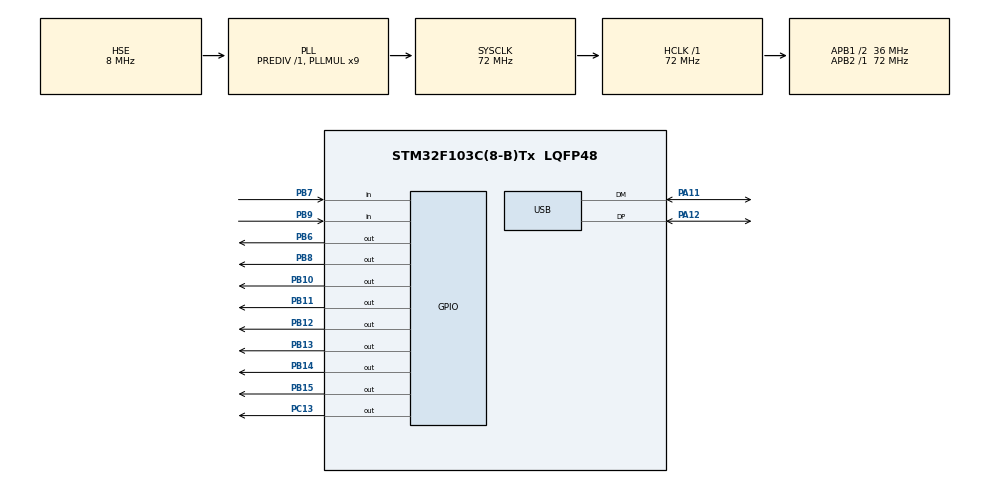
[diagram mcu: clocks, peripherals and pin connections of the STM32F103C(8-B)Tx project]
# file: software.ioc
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Mcu.Family=STM32F1
Mcu.Name=STM32F103C(8-B)Tx
Mcu.Package=LQFP48
NVIC.PriorityGroup=NVIC_PRIORITYGROUP_4
NVIC.TIM4_IRQn=true\:15\:0\:false\:false\:true\:false\:false\:true\:true
NVIC.TimeBase=TIM4_IRQn
NVIC.TimeBaseIP=TIM4
NVIC.USB_LP_CAN1_RX0_IRQn=true\:5\:0\:false\:false\:true\:true\:true\:true\:true
PA11.Mode=Device
PA11.Signal=USB_DM
PA12.Mode=Device
PA12.Signal=USB_DP
PA13.Mode=Serial_Wire
PA13.Signal=SYS_JTMS-SWDIO
PA14.Mode=Serial_Wire
PA14.Signal=SYS_JTCK-SWCLK
PB10.Signal=GPIO_Output
PB11.Signal=GPIO_Output
PB12.Signal=GPIO_Output
PB13.PinState=GPIO_PIN_RESET
PB13.Signal=GPIO_Output
PB14.Signal=GPIO_Output
PB15.Signal=GPIO_Output
PB6.PinState=GPIO_PIN_SET
PB6.Signal=GPIO_Output
PB7.Signal=GPIO_Input
PB8.GPIO_Speed=GPIO_SPEED_FREQ_LOW
PB8.PinState=GPIO_PIN_SET
PB8.Signal=GPIO_Output
PB9.Signal=GPIO_Input
PC13-TAMPER-RTC.PinState=GPIO_PIN_SET
PC13-TAMPER-RTC.Signal=GPIO_Output
PC14-OSC32_IN.Mode=LSE-External-Oscillator
PC14-OSC32_IN.Signal=RCC_OSC32_IN
PC15-OSC32_OUT.Mode=LSE-External-Oscillator
PC15-OSC32_OUT.Signal=RCC_OSC32_OUT
PD0-OSC_IN.Mode=HSE-External-Oscillator
PD0-OSC_IN.Signal=RCC_OSC_IN
PD1-OSC_OUT.Mode=HSE-External-Oscillator
PD1-OSC_OUT.Signal=RCC_OSC_OUT
ProjectManager.HeapSize=0x0
ProjectManager.StackSize=0x400
ProjectManager.TargetToolchain=CMake
RCC.AHBFreq_Value=72000000
RCC.APB1CLKDivider=RCC_HCLK_DIV2
RCC.APB1Freq_Value=36000000
RCC.APB1TimFreq_Value=72000000
RCC.APB2Freq_Value=72000000
RCC.APB2TimFreq_Value=72000000
RCC.HCLKFreq_Value=72000000
RCC.PLLMUL=RCC_PLL_MUL9
RCC.PLLSourceVirtual=RCC_PLLSOURCE_HSE
RCC.SYSCLKFreq_VALUE=72000000
RCC.SYSCLKSource=RCC_SYSCLKSOURCE_PLLCLK
RCC.USBFreq_Value=48000000
RCC.USBPrescaler=RCC_USBCLKSOURCE_PLL_DIV1_5
TIM3.Prescaler=71
USB_DEVICE.APP_RX_DATA_SIZE=128
USB_DEVICE.APP_TX_DATA_SIZE=128
USB_DEVICE.CLASS_NAME_FS=CDC
USB_DEVICE.USBD_MAX_STR_DESC_SIZ=64
USB_DEVICE.VirtualMode=Cdc
USB_DEVICE.VirtualModeFS=Cdc_FS
VP_SYS_VS_tim4.Mode=TIM4
VP_TIM3_VS_ClockSourceINT.Mode=Internal
VP_USB_DEVICE_VS_USB_DEVICE_CDC_FS.Mode=CDC_FS
board=custom

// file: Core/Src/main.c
/* USER CODE BEGIN Header */
/**
  ******************************************************************************
  * @file           : main.c
  * @brief          : Main program body
  ******************************************************************************
  * @attention
  *
  * Copyright (c) 2026 STMicroelectronics.
  * All rights reserved.
  *
  * This software is licensed under terms that can be found in the LICENSE file
  * in the root directory of this software component.
  * If no LICENSE file comes with this software, it is provided AS-IS.
  *
  ******************************************************************************
  */
/* USER CODE END Header */
#include "main.h"

/* USER CODE BEGIN Includes */
#include <string.h>

#include "calc_app.h"        /* 界面、按键分派、渲染分派都在这一层 */
#include "calc_view.h"
#include "lcd1602.h"
#include "lcd_cgram.h"
#include "touch_filter.h"
#include "touch_model.h"
#include "ttp229.h"
#include "usb_device.h"
/*
 * 裸机主循环，不使用 FreeRTOS。本文件只做两件事：
 *   1. 芯片/外设初始化（CubeMX 生成的时钟、GPIO、TIM3、USB）；
 *   2. 主循环的节拍：按键 10 ms 采样、串口 20 ms 取一次、屏幕按需刷新（最快 50 ms）、
 *      心跳灯 500 ms 翻转，互不阻塞。
 * "哪个键归哪一页、哪一页画什么"全在 calc_app 里，这里一行界面逻辑都没有。
 */
/* USER CODE END Includes */

/* USER CODE BEGIN PD */
#define KEY_POLL_PERIOD_MS    10U
#define SERIAL_POLL_PERIOD_MS 20U
#define LCD_REFRESH_PERIOD_MS 50U
#define LED_BLINK_PERIOD_MS   500U

#define LCD_COLUMNS           16U

/* USER CODE END PD */

TIM_HandleTypeDef htim3;

/* USER CODE BEGIN PV */
static touch_model_t touch_model; /* 电极串扰的组合识别模型 */

/* 屏幕内容（由 app_render 生成） */
static char top_line[LCD_COLUMNS];
static char bottom_line[LCD_COLUMNS];
static uint8_t top_cursor;        /* 光标所在列，CALC_VIEW_NO_CURSOR 表示不显示 */
static uint8_t cursor_row;        /* 光标所在行：0 = 第 1 行，1 = 第 2 行 */

/* 影子缓冲：屏幕内容或光标变了才写 LCD */
static char top_shadow[LCD_COLUMNS];
static char bottom_shadow[LCD_COLUMNS];
static uint8_t cursor_shadow = 0U;
static uint8_t cursor_row_shadow = 0U;
static uint8_t shadow_valid;

static touch_filter_t key_filter;
/* USER CODE END PV */

void SystemClock_Config(void);
static void MX_GPIO_Init(void);
static void MX_TIM3_Init(void);

/* USER CODE BEGIN PFP */
static void key_poll(void);
static void render(void);
static void lcd_flush(void);
/* USER CODE END PFP */

/* USER CODE BEGIN 0 */

/**
  * @brief  按键采样与去抖，每 10 ms 调用一次。
  * @note   原始位图来自自己写的 ttp229.c，去抖来自自己写的 touch_filter.c。
  */
static void key_poll(void)
{
  static uint8_t key_sent;
  uint32_t resolved;
  uint8_t index;

  (void)touch_filter_update(&key_filter, ttp229_read_physical());

  /* 组合识别：电极之间会串扰，一个按键往往点亮好几个电极，
     这里按作者的默认标定模型还原成"用户真正想按的那个键"。 */
  resolved = touch_model_classify(&touch_model, key_filter.stable_bitmap);

  if (resolved == 0U)
  {
    key_sent = 0U;
    return;
  }

  /* 同一次按住只处理一次，松开后才允许下一次。 */
  if (key_sent != 0U)
  {
    return;
  }
  key_sent = 1U;

  /* 把单个按键位换算成键号。 */
  index = 0U;
  while ((resolved & (1UL << index)) == 0U)
  {
    index++;
  }

  /* 采样只负责"哪个键被按了"；SHIFT 上档与页面分派都在应用层。 */
  app_handle_key(index);
}

/**
  * @brief  让应用层生成两行内容与光标位置。
  * @note   哪个页面画哪两行、光标放哪一列，都由 calc_app 决定。
  */
static void render(void)
{
  app_render(top_line, bottom_line, &top_cursor, &cursor_row);
}

/**
  * @brief  内容或光标变了才写屏；LCD 写入很慢，必须靠影子缓冲去重。
  * @note   为了显示光标，这里统一用 write_frame（write_lines 会关掉光标）。
  */
static void lcd_flush(void)
{
  if ((shadow_valid != 0U) &&
      (memcmp(top_line, top_shadow, LCD_COLUMNS) == 0) &&
      (memcmp(bottom_line, bottom_shadow, LCD_COLUMNS) == 0) &&
      (top_cursor == cursor_shadow) &&
      (cursor_row == cursor_row_shadow))
  {
    return;
  }

  if (top_cursor < LCD_COLUMNS)
  {
    lcd1602_write_frame(top_line, bottom_line, 1U, cursor_row, top_cursor);
  }
  else
  {
    lcd1602_write_frame(top_line, bottom_line, 0U, 0U, 0U);
  }

  (void)memcpy(top_shadow, top_line, LCD_COLUMNS);
  (void)memcpy(bottom_shadow, bottom_line, LCD_COLUMNS);
  cursor_shadow = top_cursor;
  cursor_row_shadow = cursor_row;
  shadow_valid = 1U;
}
/* USER CODE END 0 */

int main(void)
{
  uint32_t next_key;
  uint32_t next_serial;
  uint32_t next_flush;
  uint32_t next_led;

  /* MCU Configuration--------------------------------------------------------*/

  /* Reset of all peripherals, Initializes the Flash interface and the Systick. */
  HAL_Init();

  /* Configure the system clock */
  SystemClock_Config();

  /* Initialize all configured peripherals */
  MX_GPIO_Init();
  MX_TIM3_Init();
  /* USER CODE BEGIN 2 */

  if (HAL_TIM_Base_Start(&htim3) != HAL_OK)
  {
    Error_Handler();
  }

  /* 启动 USB 虚拟串口（CDC）。 */
  MX_USB_DEVICE_Init();

  lcd1602_init();
  lcd_cgram_define_angle();   /* 定义 ∠ 这个自定义字符（CGRAM 掉电即失） */
  lcd_cgram_define_game_sprites();  /* 定义小游戏用的精灵（槽 2-6） */
  touch_filter_init(&key_filter);
  touch_model_load_default(&touch_model);
  app_init();             /* 界面回算式页；各页面、历史、Ans、SHIFT 全部复位 */
  shadow_valid = 0U;      /* 影子缓冲还是空的，第一帧必定写屏 */

  next_key = HAL_GetTick();
  next_serial = HAL_GetTick();
  next_flush = HAL_GetTick();
  next_led = HAL_GetTick();

  /* USER CODE END 2 */

  /* Infinite loop */
  /* USER CODE BEGIN WHILE */
  while (1)
  {
    const uint32_t now = HAL_GetTick();

    /* 1. 按键：每 10 ms 采样一次（去抖要求） */
    if ((int32_t)(now - next_key) >= 0)
    {
      next_key += KEY_POLL_PERIOD_MS;
      key_poll();
    }

    /* 2. 串口：每 20 ms 取一次环形缓冲 */
    if ((int32_t)(now - next_serial) >= 0)
    {
      next_serial += SERIAL_POLL_PERIOD_MS;
      app_poll_serial();
    }

    /* 3. 生成画面并按需刷屏，最快 50 ms 一次 */
    if ((int32_t)(now - next_flush) >= 0)
    {
      next_flush += LCD_REFRESH_PERIOD_MS;
      render();
      lcd_flush();
    }

    /* 4. 心跳灯：证明主循环没有卡住 */
    if ((int32_t)(now - next_led) >= 0)
    {
      next_led += LED_BLINK_PERIOD_MS;
      HAL_GPIO_TogglePin(GPIOC, GPIO_PIN_13);
    }

    /* 5. 小游戏：页面自己判断"在不在游戏界面、到没到 70 ms" */
    app_poll_game();

    /* USER CODE END WHILE */

  }
}

void SystemClock_Config(void)
{
  RCC_OscInitTypeDef RCC_OscInitStruct = {0};
  RCC_ClkInitTypeDef RCC_ClkInitStruct = {0};
  RCC_PeriphCLKInitTypeDef PeriphClkInit = {0};

  /** Initializes the RCC Oscillators according to the specified parameters
  * in the RCC_OscInitTypeDef structure.
  */
  RCC_OscInitStruct.OscillatorType = RCC_OSCILLATORTYPE_HSE;
  RCC_OscInitStruct.HSEState = RCC_HSE_ON;
  RCC_OscInitStruct.HSEPredivValue = RCC_HSE_PREDIV_DIV1;
  RCC_OscInitStruct.HSIState = RCC_HSI_ON;
  RCC_OscInitStruct.PLL.PLLState = RCC_PLL_ON;
  RCC_OscInitStruct.PLL.PLLSource = RCC_PLLSOURCE_HSE;
  RCC_OscInitStruct.PLL.PLLMUL = RCC_PLL_MUL9;
  if (HAL_RCC_OscConfig(&RCC_OscInitStruct) != HAL_OK)
  {
    Error_Handler();
  }

  /** Initializes the CPU, AHB and APB buses clocks
  */
  RCC_ClkInitStruct.ClockType = RCC_CLOCKTYPE_HCLK|RCC_CLOCKTYPE_SYSCLK
                              |RCC_CLOCKTYPE_PCLK1|RCC_CLOCKTYPE_PCLK2;
  RCC_ClkInitStruct.SYSCLKSource = RCC_SYSCLKSOURCE_PLLCLK;
  RCC_ClkInitStruct.AHBCLKDivider = RCC_SYSCLK_DIV1;
  RCC_ClkInitStruct.APB1CLKDivider = RCC_HCLK_DIV2;
  RCC_ClkInitStruct.APB2CLKDivider = RCC_HCLK_DIV1;

  if (HAL_RCC_ClockConfig(&RCC_ClkInitStruct, FLASH_LATENCY_2) != HAL_OK)
  {
    Error_Handler();
  }
  PeriphClkInit.PeriphClockSelection = RCC_PERIPHCLK_USB;
  PeriphClkInit.UsbClockSelection = RCC_USBCLKSOURCE_PLL_DIV1_5;
  if (HAL_RCCEx_PeriphCLKConfig(&PeriphClkInit) != HAL_OK)
  {
    Error_Handler();
  }
}

static void MX_TIM3_Init(void)
{

  TIM_ClockConfigTypeDef sClockSourceConfig = {0};
  TIM_MasterConfigTypeDef sMasterConfig = {0};

  htim3.Instance = TIM3;
  htim3.Init.Prescaler = 71;
  htim3.Init.CounterMode = TIM_COUNTERMODE_UP;
  htim3.Init.Period = 65535;
  htim3.Init.ClockDivision = TIM_CLOCKDIVISION_DIV1;
  htim3.Init.AutoReloadPreload = TIM_AUTORELOAD_PRELOAD_DISABLE;
  if (HAL_TIM_Base_Init(&htim3) != HAL_OK)
  {
    Error_Handler();
  }
  sClockSourceConfig.ClockSource = TIM_CLOCKSOURCE_INTERNAL;
  if (HAL_TIM_ConfigClockSource(&htim3, &sClockSourceConfig) != HAL_OK)
  {
    Error_Handler();
  }
  sMasterConfig.MasterOutputTrigger = TIM_TRGO_RESET;
  sMasterConfig.MasterSlaveMode = TIM_MASTERSLAVEMODE_DISABLE;
  if (HAL_TIMEx_MasterConfigSynchronization(&htim3, &sMasterConfig) != HAL_OK)
  {
    Error_Handler();
  }

}

static void MX_GPIO_Init(void)
{
  GPIO_InitTypeDef GPIO_InitStruct = {0};

  /* GPIO Ports Clock Enable */
  __HAL_RCC_GPIOC_CLK_ENABLE();
  __HAL_RCC_GPIOD_CLK_ENABLE();
  __HAL_RCC_GPIOB_CLK_ENABLE();
  __HAL_RCC_GPIOA_CLK_ENABLE();

  /*Configure GPIO pin Output Level */
  HAL_GPIO_WritePin(GPIOC, GPIO_PIN_13, GPIO_PIN_SET);

  /*Configure GPIO pin Output Level */
  HAL_GPIO_WritePin(GPIOB, GPIO_PIN_10|GPIO_PIN_11|GPIO_PIN_12|GPIO_PIN_13
                          |GPIO_PIN_14|GPIO_PIN_15, GPIO_PIN_RESET);

  /*Configure GPIO pin Output Level */
  HAL_GPIO_WritePin(GPIOB, GPIO_PIN_6|GPIO_PIN_8, GPIO_PIN_SET);

  /*Configure GPIO pin : PC13 */
  GPIO_InitStruct.Pin = GPIO_PIN_13;
  GPIO_InitStruct.Mode = GPIO_MODE_OUTPUT_PP;
  GPIO_InitStruct.Pull = GPIO_NOPULL;
  GPIO_InitStruct.Speed = GPIO_SPEED_FREQ_LOW;
  HAL_GPIO_Init(GPIOC, &GPIO_InitStruct);

  /*Configure GPIO pins : PB10 PB11 PB12 PB13
                           PB14 PB15 PB6 PB8 */
  GPIO_InitStruct.Pin = GPIO_PIN_10|GPIO_PIN_11|GPIO_PIN_12|GPIO_PIN_13
                          |GPIO_PIN_14|GPIO_PIN_15|GPIO_PIN_6|GPIO_PIN_8;
  GPIO_InitStruct.Mode = GPIO_MODE_OUTPUT_PP;
  GPIO_InitStruct.Pull = GPIO_NOPULL;
  GPIO_InitStruct.Speed = GPIO_SPEED_FREQ_LOW;
  HAL_GPIO_Init(GPIOB, &GPIO_InitStruct);

  /*Configure GPIO pins : PB7 PB9 */
  GPIO_InitStruct.Pin = GPIO_PIN_7|GPIO_PIN_9;
  GPIO_InitStruct.Mode = GPIO_MODE_INPUT;
  GPIO_InitStruct.Pull = GPIO_NOPULL;
  HAL_GPIO_Init(GPIOB, &GPIO_InitStruct);

}

void HAL_TIM_PeriodElapsedCallback(TIM_HandleTypeDef *htim)
{
  if (htim->Instance == TIM4) {
    HAL_IncTick();
  }
}

void Error_Handler(void)
{
  __disable_irq();
  while (1)
  {
  }
}
